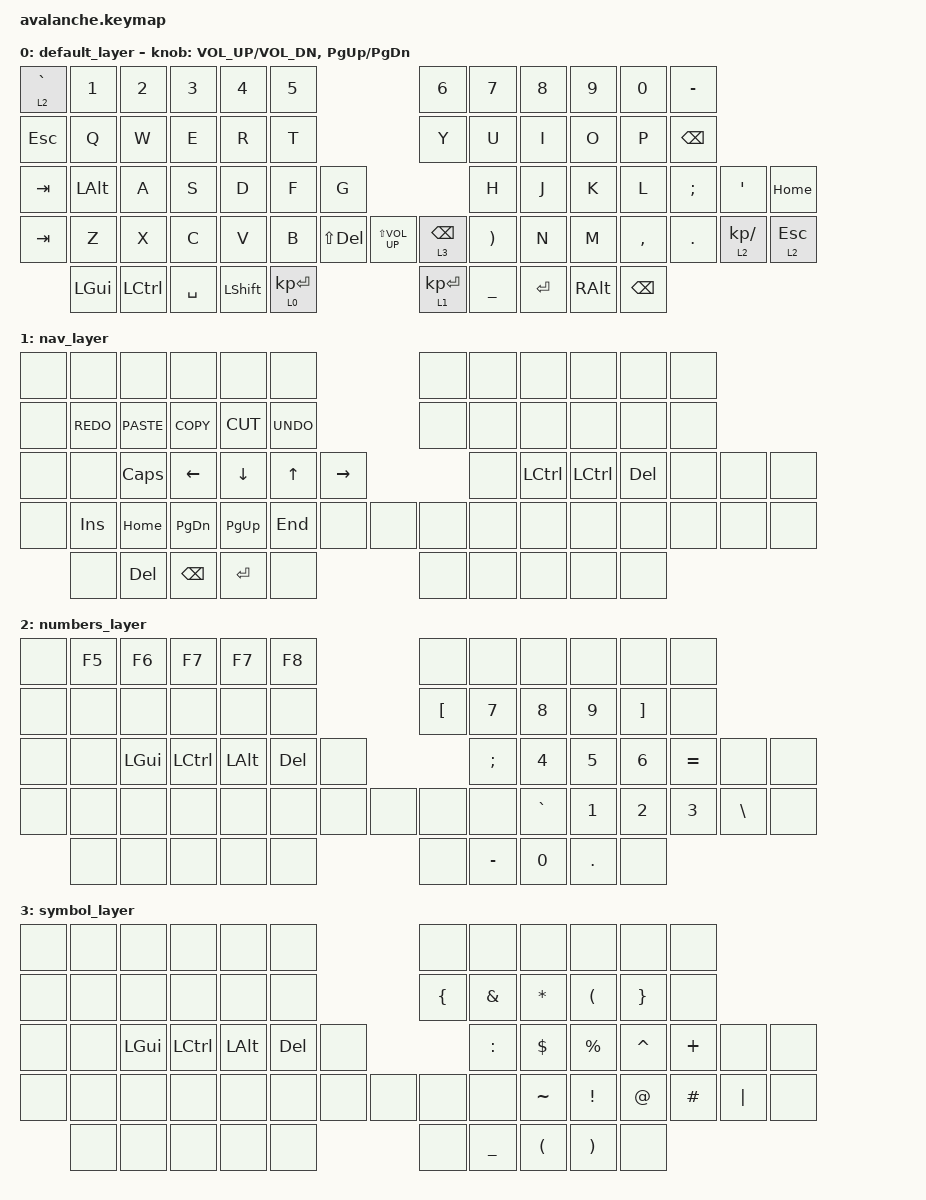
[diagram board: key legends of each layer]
#include <behaviors.dtsi>
#include <dt-bindings/zmk/keys.h>

/ {
    behaviors {
        tdlayer: tdlayer {
            compatible = "zmk,behavior-hold-tap";
            #binding-cells = <2>;
            label = "tdlayer";
            bindings = <&mo>, <&kp>;

            tapping-term-ms = <200>;
        };
    };

    keymap {
        compatible = "zmk,keymap";

        /*
        &none  &none  &none  &none  &none  &none                                   &none  &none  &none  &none  &none  &none 
// ------------------------------------------------------------------------------------------------------------------------------------------------------------------------------------
        &none  &none  &none  &none  &none  &none                                   &none  &none  &none  &none  &none  &none 
// ------------------------------------------------------------------------------------------------------------------------------------------------------------------------------------
&none  &none  &none  &none  &none  &none  &none                                   &none  &none  &none  &none  &none  &none  &none 
// ------------------------------------------------------------------------------------------------------------------------------------------------------------------------------------
        &none  &none  &none  &none  &none  &none  &none  &none    &none &none  &none  &none  &none  &none  &none  &none 
// ------------------------------------------------------------------------------------------------------------------------------------------------------------------------------------
                                &none  &none  &none  &none  &none    &none &none  &none  &none  &none
*/

        default_layer {
            bindings = <
&tdlayer 2 GRAVE  &kp N1    &kp N2            &kp N3     &kp N4          &kp N5                                                 &kp N6                &kp N7                 &kp N8   &kp N9    &kp N0     &kp MINUS
&kp ESCAPE        &kp Q     &kp W             &kp E      &kp R           &kp T                                                  &kp Y                 &kp U                  &kp I    &kp O     &kp P      &kp BACKSPACE
&kp TAB           &kp LALT  &kp A             &kp S      &kp D           &kp F                &kp G                                                   &kp H                  &kp J    &kp K     &kp L      &kp SEMI       &kp SQT              &kp HOME
&kp TAB           &kp Z     &kp X             &kp C      &kp V           &kp B                &kp LS(DEL)  &kp LS(C_VOLUME_UP)  &tdlayer 3 BACKSPACE  &kp RIGHT_PARENTHESIS  &kp N    &kp M     &kp COMMA  &kp DOT        &tdlayer 2 KP_SLASH  &tdlayer 2 ESC
                  &kp LGUI  &kp LEFT_CONTROL  &kp SPACE  &kp LEFT_SHIFT  &tdlayer 0 KP_ENTER                                    &tdlayer 1 KP_ENTER   &kp UNDER              &kp RET  &kp RALT  &kp BSPC
            >;

            sensor-bindings = <&inc_dec_kp C_VOL_UP C_VOL_DN &inc_dec_kp PG_UP PG_DN>;
        };

        nav_layer {
            bindings = <
&none  &none       &none         &none          &none        &none                         &none  &none  &none             &none      &none       &none
&none  &kp K_REDO  &kp K_PASTE   &kp K_COPY     &kp K_CUT    &kp K_UNDO                    &none  &none  &none             &none      &none       &none
&none  &none       &kp CAPSLOCK  &kp LEFT       &kp DOWN     &kp UP      &kp RIGHT                &none  &kp LEFT_CONTROL  &kp LCTRL  &kp DELETE  &none  &none  &none
&none  &kp INSERT  &kp HOME      &kp PAGE_DOWN  &kp PAGE_UP  &kp END     &none      &none  &none  &none  &none             &none      &none       &none  &none  &none
       &none       &kp DELETE    &kp BACKSPACE  &kp ENTER    &none                         &none  &none  &none             &none      &none
            >;
        };

        numbers_layer {
            bindings = <
&none  &kp F5  &kp F6        &kp F7            &kp F7        &kp F8                    &none     &none      &none      &none    &none     &none
&none  &none   &none         &none             &none         &none                     &kp LBKT  &kp N7     &kp N8     &kp N9   &kp RBKT  &none
&none  &none   &kp LEFT_GUI  &kp LEFT_CONTROL  &kp LEFT_ALT  &kp DELETE  &none                   &kp SEMI   &kp N4     &kp N5   &kp N6    &kp EQUAL  &none     &none
&none  &none   &none         &none             &none         &none       &none  &none  &none     &none      &kp GRAVE  &kp N1   &kp N2    &kp N3     &kp BSLH  &none
       &none   &none         &none             &none         &none                     &none     &kp MINUS  &kp N0     &kp DOT  &none
            >;
        };

        symbol_layer {
            bindings = <
&none  &none  &none     &none      &none     &none                     &none           &none           &none                 &none                  &none            &none
&none  &none  &none     &none      &none     &none                     &kp LEFT_BRACE  &kp AMPERSAND   &kp ASTERISK          &kp LEFT_PARENTHESIS   &kp RIGHT_BRACE  &none
&none  &none  &kp LGUI  &kp LCTRL  &kp LALT  &kp DELETE  &none                         &kp COLON       &kp DOLLAR            &kp PERCENT            &kp CARET        &kp PLUS  &none     &none
&none  &none  &none     &none      &none     &none       &none  &none  &none           &none           &kp TILDE             &kp EXCLAMATION        &kp AT_SIGN      &kp HASH  &kp PIPE  &none
       &none  &none     &none      &none     &none                     &none           &kp UNDERSCORE  &kp LEFT_PARENTHESIS  &kp RIGHT_PARENTHESIS  &none
            >;
        };
    };
};
